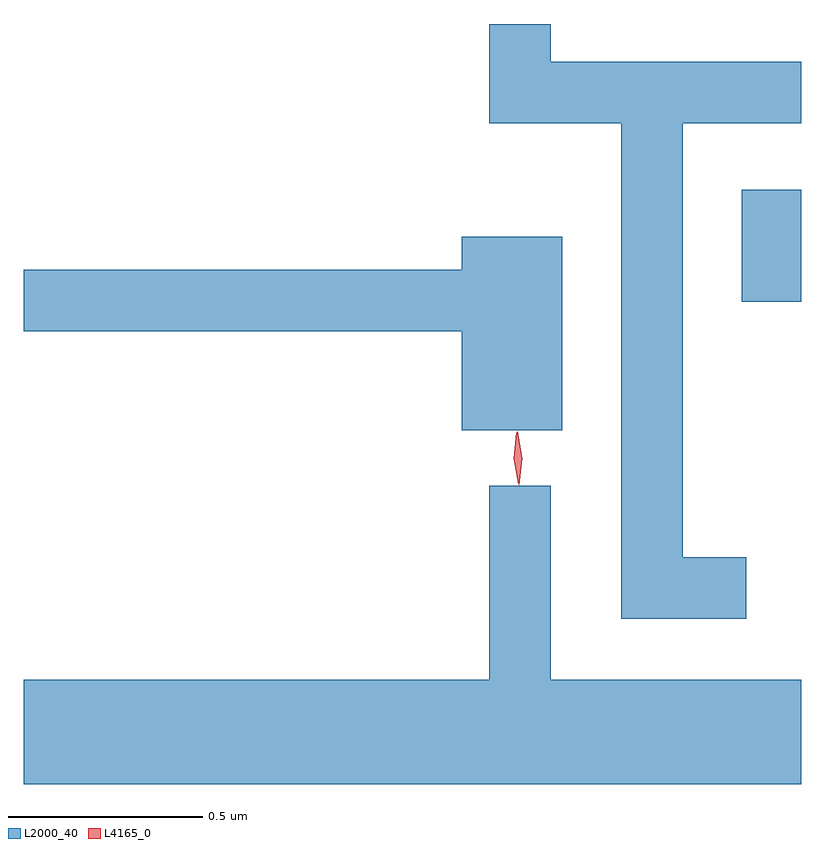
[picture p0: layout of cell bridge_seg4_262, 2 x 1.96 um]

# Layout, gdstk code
import gdstk
lib = gdstk.Library(unit=1e-6, precision=1e-09)
def R(c, l, rs):  # rectangles x0, y0, x1, y1
    for r in rs: c.add(gdstk.rectangle(r[:2], r[2:], *l))
def P(c, l, *ps):  # polygons
    for p in ps: c.add(gdstk.Polygon(p, *l))
L2000_40 = (2000, 40)
L4165_0 = (4165, 0)

bridge_seg4_262 = lib.new_cell('bridge_seg4_262')
R(bridge_seg4_262, L2000_40, [(678.136,1333.716,678.289,1334.004)])
P(bridge_seg4_262, L2000_40, [(678.148,1333.059),(677.984,1333.059),(677.984,1334.176),(678.289,1334.176),(678.289,1334.334),(677.644,1334.334),(677.644,1334.431),(677.486,1334.431),(677.486,1334.176),(677.826,1334.176),(677.826,1332.901),(678.148,1332.901)],
  [(677.674,1333.884),(677.416,1333.884),(677.416,1333.799),(676.289,1333.799),(676.289,1333.641),(677.416,1333.641),(677.416,1333.386),(677.674,1333.386)],
  [(678.289,1332.744),(677.644,1332.744),(677.644,1333.243),(677.486,1333.243),(677.486,1332.744),(676.289,1332.744),(676.289,1332.476),(678.289,1332.476)])
P(bridge_seg4_262, L4165_0, [(677.561,1333.248),(677.561,1333.248),(677.549,1333.313),(677.556,1333.379),(677.557,1333.379),(677.557,1333.379),(677.569,1333.314),(677.562,1333.248)],
  [(677.563,1333.245),(677.552,1333.313),(677.559,1333.382),(677.56,1333.382),(677.56,1333.382),(677.571,1333.314),(677.564,1333.245),(677.564,1333.245)])

lib.write_gds('bridge_seg4_262.gds')
